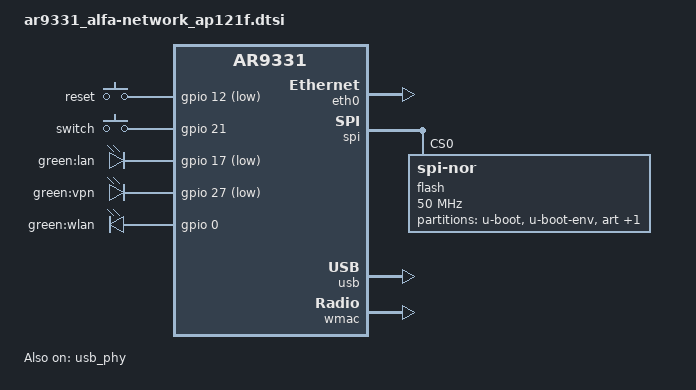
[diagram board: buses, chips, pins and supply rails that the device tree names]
// SPDX-License-Identifier: GPL-2.0-or-later OR MIT

#include "ar9331.dtsi"

#include <dt-bindings/gpio/gpio.h>
#include <dt-bindings/input/input.h>

/ {
	aliases {
		label-mac-device = &wmac;
		led-boot = &led_vpn;
		led-failsafe = &led_vpn;
		led-upgrade = &led_vpn;
	};

	keys {
		compatible = "gpio-keys";

		reset {
			label = "reset";
			linux,code = <KEY_RESTART>;
			gpios = <&gpio 12 GPIO_ACTIVE_LOW>;
			debounce-interval = <60>;
		};

		switch {
			label = "switch";
			linux,code = <BTN_0>;
			gpios = <&gpio 21 GPIO_ACTIVE_HIGH>;
			debounce-interval = <60>;
		};
	};

	leds {
		compatible = "gpio-leds";

		lan {
			label = "green:lan";
			gpios = <&gpio 17 GPIO_ACTIVE_LOW>;
		};

		led_vpn: vpn {
			label = "green:vpn";
			gpios = <&gpio 27 GPIO_ACTIVE_LOW>;
		};

		wlan {
			label = "green:wlan";
			gpios = <&gpio 0 GPIO_ACTIVE_HIGH>;
			linux,default-trigger = "phy0tpt";
		};
	};
};

&eth0 {
	status = "okay";

	nvmem-cells = <&macaddr_art_0>;
	nvmem-cell-names = "mac-address";

	gmac-config {
		device = <&gmac>;
		switch-phy-addr-swap = <0>;
		switch-phy-swap = <0>;
	};
};

&eth1 {
	status = "okay";

	compatible = "syscon", "simple-mfd";
};

&spi {
	status = "okay";

	flash@0 {
		compatible = "jedec,spi-nor";
		reg = <0>;
		spi-max-frequency = <50000000>;
		m25p,fast-read;

		partitions {
			compatible = "fixed-partitions";
			#address-cells = <1>;
			#size-cells = <1>;

			partition@0 {
				label = "u-boot";
				reg = <0x000000 0x030000>;
				read-only;
			};

			partition@30000 {
				label = "u-boot-env";
				reg = <0x030000 0x010000>;
			};

			partition@40000 {
				label = "art";
				reg = <0x040000 0x010000>;
				read-only;

				compatible = "nvmem-cells";
				#address-cells = <1>;
				#size-cells = <1>;

				cal_art_1000: cal@1000 {
					reg = <0x1000 0x440>;
				};

				macaddr_art_0: macaddr@0 {
					reg = <0x0 0x6>;
				};

				macaddr_art_1002: macaddr@1002 {
					reg = <0x1002 0x6>;
				};
			};

			partition@50000 {
				compatible = "denx,uimage";
				label = "firmware";
				reg = <0x050000 0xfb0000>;
			};
		};
	};
};

&usb {
	status = "okay";
};

&usb_phy {
	status = "okay";
};

&wmac {
	status = "okay";

	nvmem-cells = <&cal_art_1000>, <&macaddr_art_1002>;
	nvmem-cell-names = "calibration", "mac-address";
};
